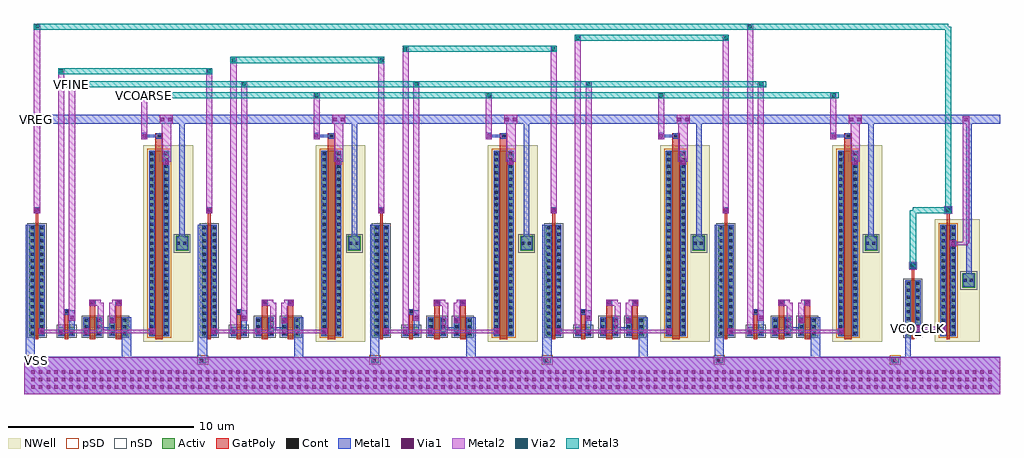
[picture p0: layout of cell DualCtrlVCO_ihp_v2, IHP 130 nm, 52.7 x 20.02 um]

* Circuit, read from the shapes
.subckt DualCtrlVCO_ihp_v2 VCOARSE VCO_CLK VFINE VREG VSS
XM1 n1 n2 VSS VSS sg13_lv_nmos w=6u l=0.15u
XM2 VFINE VFINE n1 VSS sg13_lv_nmos w=0.5u l=0.2u
XM3 n3 n1 n1 VSS sg13_lv_nmos w=1u l=0.3u
XM4 VSS n3 n3 VSS sg13_lv_nmos w=1u l=0.3u
XM5 n4 n1 VSS VSS sg13_lv_nmos w=6u l=0.15u
XM6 VFINE VFINE n4 VSS sg13_lv_nmos w=0.5u l=0.2u
XM7 n5 n4 n4 VSS sg13_lv_nmos w=1u l=0.3u
XM8 VSS n5 n5 VSS sg13_lv_nmos w=1u l=0.3u
XM9 n6 n4 VSS VSS sg13_lv_nmos w=6u l=0.15u
XM10 VFINE VFINE n6 VSS sg13_lv_nmos w=0.5u l=0.2u
XM11 n7 n6 n6 VSS sg13_lv_nmos w=1u l=0.3u
XM12 VSS n7 n7 VSS sg13_lv_nmos w=1u l=0.3u
XM13 n8 n6 VSS VSS sg13_lv_nmos w=6u l=0.15u
XM14 VFINE VFINE n8 VSS sg13_lv_nmos w=0.5u l=0.2u
XM15 n9 n8 n8 VSS sg13_lv_nmos w=1u l=0.3u
XM16 VSS n9 n9 VSS sg13_lv_nmos w=1u l=0.3u
XM17 n2 n8 VSS VSS sg13_lv_nmos w=6u l=0.15u
XM18 VFINE VFINE n2 VSS sg13_lv_nmos w=0.5u l=0.2u
XM19 n10 n2 n2 VSS sg13_lv_nmos w=1u l=0.3u
XM20 VSS n10 n10 VSS sg13_lv_nmos w=1u l=0.3u
XM21 VCO_CLK n2 VSS VSS sg13_lv_nmos w=3u l=0.15u
XM22 VREG VCOARSE n1 VREG sg13_lv_pmos w=10u l=0.4u
XM23 VREG VCOARSE n4 VREG sg13_lv_pmos w=10u l=0.4u
XM24 VREG VCOARSE n6 VREG sg13_lv_pmos w=10u l=0.4u
XM25 VREG VCOARSE n8 VREG sg13_lv_pmos w=10u l=0.4u
XM26 VREG VCOARSE n2 VREG sg13_lv_pmos w=10u l=0.4u
XM27 VREG n2 VCO_CLK VREG sg13_lv_pmos w=6u l=0.15u
.ends

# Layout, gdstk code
import gdstk
lib = gdstk.Library(unit=1e-6, precision=1e-09)
def R(c, l, rs):  # rectangles x0, y0, x1, y1
    for r in rs: c.add(gdstk.rectangle(r[:2], r[2:], *l))
def A(c, l, x, y, w, h, nx, ny, dx, dy):  # array of equal rectangles
    R(c, l, [(x+i*dx, y+j*dy, x+i*dx+w, y+j*dy+h) for i in range(nx) for j in range(ny)])
Activ = (1, 0)
GatPoly = (5, 0)
Cont = (6, 0)
nSD = (7, 0)
Metal1 = (8, 0)
Metal2 = (10, 0)
pSD = (14, 0)
Via1 = (19, 0)
Via2 = (29, 0)
Metal3 = (30, 0)
NWell = (31, 0)

dualctrlvco_ihp_v2 = lib.new_cell('DualCtrlVCO_ihp_v2')
A(dualctrlvco_ihp_v2, Activ, -0.55, -1.46, 0.4, 0.32, 5, 1, 9.3, 0)
A(dualctrlvco_ihp_v2, Activ, -0.415, 0, 0.83, 6, 5, 1, 9.3, 0)
A(dualctrlvco_ihp_v2, Activ, 1.16, 0, 0.88, 0.5, 5, 1, 9.3, 0)
A(dualctrlvco_ihp_v2, Activ, 6.06, 0, 1.08, 10, 5, 1, 9.3, 0)
A(dualctrlvco_ihp_v2, Activ, 7.49, 4.6, 0.7, 0.8, 5, 1, 9.3, 0)
R(dualctrlvco_ihp_v2, Activ, [(46.135,-1.46,46.535,-1.14), (2.51,0,3.49,1), (3.91,0,4.89,1), (11.81,0,12.79,1), (13.21,0,14.19,1), (21.11,0,22.09,1), (22.51,0,23.49,1), (30.41,0,31.39,1), (31.81,0,32.79,1), (39.71,0,40.69,1), (41.11,0,42.09,1), (46.885,0,47.715,3), (48.785,0,49.615,6), (49.965,2.6,50.665,3.4)])
A(dualctrlvco_ihp_v2, GatPoly, -0.075, -0.18, 0.15, 7.13, 5, 1, 9.3, 0)
A(dualctrlvco_ihp_v2, GatPoly, 1.5, -0.18, 0.2, 1.63, 5, 1, 9.3, 0)
A(dualctrlvco_ihp_v2, GatPoly, 6.4, -0.18, 0.4, 11.13, 5, 1, 9.3, 0)
A(dualctrlvco_ihp_v2, GatPoly, 1.45, 1.15, 0.3, 0.3, 5, 1, 9.3, 0)
A(dualctrlvco_ihp_v2, GatPoly, -0.15, 6.65, 0.3, 0.3, 5, 1, 9.3, 0)
A(dualctrlvco_ihp_v2, GatPoly, 6.4, 10.65, 0.4, 0.3, 5, 1, 9.3, 0)
R(dualctrlvco_ihp_v2, GatPoly, [(2.85,-0.18,3.15,1.95), (4.25,-0.18,4.55,1.95), (12.15,-0.18,12.45,1.95), (13.55,-0.18,13.85,1.95), (21.45,-0.18,21.75,1.95), (22.85,-0.18,23.15,1.95), (30.75,-0.18,31.05,1.95), (32.15,-0.18,32.45,1.95), (40.05,-0.18,40.35,1.95), (41.45,-0.18,41.75,1.95), (47.225,-0.18,47.375,3.95), (49.125,-0.18,49.275,6.95), (2.85,1.65,3.15,1.95), (4.25,1.65,4.55,1.95), (12.15,1.65,12.45,1.95), (13.55,1.65,13.85,1.95), (21.45,1.65,21.75,1.95), (22.85,1.65,23.15,1.95), (30.75,1.65,31.05,1.95), (32.15,1.65,32.45,1.95), (40.05,1.65,40.35,1.95), (41.45,1.65,41.75,1.95), (47.15,3.65,47.45,3.95), (49.05,6.65,49.35,6.95)])
A(dualctrlvco_ihp_v2, Cont, -0.48, -1.38, 0.16, 0.16, 5, 1, 9.3, 0)
A(dualctrlvco_ihp_v2, Cont, -0.345, 0.07, 0.16, 0.16, 1, 3, 0, 0.355)
A(dualctrlvco_ihp_v2, Cont, 0.185, 0.07, 0.16, 0.16, 1, 3, 0, 0.355)
A(dualctrlvco_ihp_v2, Cont, 2.58, 0.07, 0.16, 0.16, 1, 3, 0, 0.35)
A(dualctrlvco_ihp_v2, Cont, 3.26, 0.07, 0.16, 0.16, 1, 3, 0, 0.35)
A(dualctrlvco_ihp_v2, Cont, 3.98, 0.07, 0.16, 0.16, 1, 3, 0, 0.35)
A(dualctrlvco_ihp_v2, Cont, 4.66, 0.07, 0.16, 0.16, 1, 3, 0, 0.35)
A(dualctrlvco_ihp_v2, Cont, 8.955, 0.07, 0.16, 0.16, 1, 3, 0, 0.355)
A(dualctrlvco_ihp_v2, Cont, 9.485, 0.07, 0.16, 0.16, 1, 3, 0, 0.355)
A(dualctrlvco_ihp_v2, Cont, 11.88, 0.07, 0.16, 0.16, 1, 3, 0, 0.35)
A(dualctrlvco_ihp_v2, Cont, 12.56, 0.07, 0.16, 0.16, 1, 3, 0, 0.35)
A(dualctrlvco_ihp_v2, Cont, 13.28, 0.07, 0.16, 0.16, 1, 3, 0, 0.35)
A(dualctrlvco_ihp_v2, Cont, 13.96, 0.07, 0.16, 0.16, 1, 3, 0, 0.35)
A(dualctrlvco_ihp_v2, Cont, 18.255, 0.07, 0.16, 0.16, 1, 3, 0, 0.355)
A(dualctrlvco_ihp_v2, Cont, 18.785, 0.07, 0.16, 0.16, 1, 3, 0, 0.355)
A(dualctrlvco_ihp_v2, Cont, 21.18, 0.07, 0.16, 0.16, 1, 3, 0, 0.35)
A(dualctrlvco_ihp_v2, Cont, 21.86, 0.07, 0.16, 0.16, 1, 3, 0, 0.35)
A(dualctrlvco_ihp_v2, Cont, 22.58, 0.07, 0.16, 0.16, 1, 3, 0, 0.35)
A(dualctrlvco_ihp_v2, Cont, 23.26, 0.07, 0.16, 0.16, 1, 3, 0, 0.35)
A(dualctrlvco_ihp_v2, Cont, 27.555, 0.07, 0.16, 0.16, 1, 3, 0, 0.355)
A(dualctrlvco_ihp_v2, Cont, 28.085, 0.07, 0.16, 0.16, 1, 3, 0, 0.355)
A(dualctrlvco_ihp_v2, Cont, 30.48, 0.07, 0.16, 0.16, 1, 3, 0, 0.35)
A(dualctrlvco_ihp_v2, Cont, 31.16, 0.07, 0.16, 0.16, 1, 3, 0, 0.35)
A(dualctrlvco_ihp_v2, Cont, 31.88, 0.07, 0.16, 0.16, 1, 3, 0, 0.35)
A(dualctrlvco_ihp_v2, Cont, 32.56, 0.07, 0.16, 0.16, 1, 3, 0, 0.35)
A(dualctrlvco_ihp_v2, Cont, 36.855, 0.07, 0.16, 0.16, 1, 3, 0, 0.355)
A(dualctrlvco_ihp_v2, Cont, 37.385, 0.07, 0.16, 0.16, 1, 3, 0, 0.355)
A(dualctrlvco_ihp_v2, Cont, 39.78, 0.07, 0.16, 0.16, 1, 3, 0, 0.35)
A(dualctrlvco_ihp_v2, Cont, 40.46, 0.07, 0.16, 0.16, 1, 3, 0, 0.35)
A(dualctrlvco_ihp_v2, Cont, 41.18, 0.07, 0.16, 0.16, 1, 3, 0, 0.35)
A(dualctrlvco_ihp_v2, Cont, 41.86, 0.07, 0.16, 0.16, 1, 3, 0, 0.35)
A(dualctrlvco_ihp_v2, Cont, 46.955, 0.07, 0.16, 0.16, 1, 4, 0, 0.385)
A(dualctrlvco_ihp_v2, Cont, 47.485, 0.07, 0.16, 0.16, 1, 4, 0, 0.385)
A(dualctrlvco_ihp_v2, Cont, 48.855, 0.07, 0.16, 0.16, 1, 3, 0, 0.355)
A(dualctrlvco_ihp_v2, Cont, 49.385, 0.07, 0.16, 0.16, 1, 3, 0, 0.355)
A(dualctrlvco_ihp_v2, Cont, 6.13, 0.765, 0.16, 0.16, 1, 4, 0, 0.345)
A(dualctrlvco_ihp_v2, Cont, 6.91, 0.765, 0.16, 0.16, 1, 4, 0, 0.345)
A(dualctrlvco_ihp_v2, Cont, 15.43, 0.765, 0.16, 0.16, 1, 4, 0, 0.345)
A(dualctrlvco_ihp_v2, Cont, 16.21, 0.765, 0.16, 0.16, 1, 4, 0, 0.345)
A(dualctrlvco_ihp_v2, Cont, 24.73, 0.765, 0.16, 0.16, 1, 4, 0, 0.345)
A(dualctrlvco_ihp_v2, Cont, 25.51, 0.765, 0.16, 0.16, 1, 4, 0, 0.345)
A(dualctrlvco_ihp_v2, Cont, 34.03, 0.765, 0.16, 0.16, 1, 4, 0, 0.345)
A(dualctrlvco_ihp_v2, Cont, 34.81, 0.765, 0.16, 0.16, 1, 4, 0, 0.345)
A(dualctrlvco_ihp_v2, Cont, 43.33, 0.765, 0.16, 0.16, 1, 4, 0, 0.345)
A(dualctrlvco_ihp_v2, Cont, 44.11, 0.765, 0.16, 0.16, 1, 4, 0, 0.345)
A(dualctrlvco_ihp_v2, Cont, -0.345, 1.14, 0.16, 0.16, 1, 4, 0, 0.355)
A(dualctrlvco_ihp_v2, Cont, 0.185, 1.14, 0.16, 0.16, 1, 4, 0, 0.355)
A(dualctrlvco_ihp_v2, Cont, 8.955, 1.14, 0.16, 0.16, 1, 4, 0, 0.355)
A(dualctrlvco_ihp_v2, Cont, 9.485, 1.14, 0.16, 0.16, 1, 4, 0, 0.355)
A(dualctrlvco_ihp_v2, Cont, 18.255, 1.14, 0.16, 0.16, 1, 4, 0, 0.355)
A(dualctrlvco_ihp_v2, Cont, 18.785, 1.14, 0.16, 0.16, 1, 4, 0, 0.355)
A(dualctrlvco_ihp_v2, Cont, 27.555, 1.14, 0.16, 0.16, 1, 4, 0, 0.355)
A(dualctrlvco_ihp_v2, Cont, 28.085, 1.14, 0.16, 0.16, 1, 4, 0, 0.355)
A(dualctrlvco_ihp_v2, Cont, 36.855, 1.14, 0.16, 0.16, 1, 4, 0, 0.355)
A(dualctrlvco_ihp_v2, Cont, 37.385, 1.14, 0.16, 0.16, 1, 4, 0, 0.355)
A(dualctrlvco_ihp_v2, Cont, 48.855, 1.14, 0.16, 0.16, 1, 4, 0, 0.355)
A(dualctrlvco_ihp_v2, Cont, 49.385, 1.14, 0.16, 0.16, 1, 4, 0, 0.355)
A(dualctrlvco_ihp_v2, Cont, 1.52, 1.22, 0.16, 0.16, 5, 1, 9.3, 0)
A(dualctrlvco_ihp_v2, Cont, 46.955, 1.615, 0.16, 0.16, 1, 4, 0, 0.385)
A(dualctrlvco_ihp_v2, Cont, 47.485, 1.615, 0.16, 0.16, 1, 4, 0, 0.385)
A(dualctrlvco_ihp_v2, Cont, 6.13, 2.15, 0.16, 0.16, 1, 3, 0, 0.345)
A(dualctrlvco_ihp_v2, Cont, 6.91, 2.15, 0.16, 0.16, 1, 3, 0, 0.345)
A(dualctrlvco_ihp_v2, Cont, 15.43, 2.15, 0.16, 0.16, 1, 3, 0, 0.345)
A(dualctrlvco_ihp_v2, Cont, 16.21, 2.15, 0.16, 0.16, 1, 3, 0, 0.345)
A(dualctrlvco_ihp_v2, Cont, 24.73, 2.15, 0.16, 0.16, 1, 3, 0, 0.345)
A(dualctrlvco_ihp_v2, Cont, 25.51, 2.15, 0.16, 0.16, 1, 3, 0, 0.345)
A(dualctrlvco_ihp_v2, Cont, 34.03, 2.15, 0.16, 0.16, 1, 3, 0, 0.345)
A(dualctrlvco_ihp_v2, Cont, 34.81, 2.15, 0.16, 0.16, 1, 3, 0, 0.345)
A(dualctrlvco_ihp_v2, Cont, 43.33, 2.15, 0.16, 0.16, 1, 3, 0, 0.345)
A(dualctrlvco_ihp_v2, Cont, 44.11, 2.15, 0.16, 0.16, 1, 3, 0, 0.345)
A(dualctrlvco_ihp_v2, Cont, -0.345, 2.565, 0.16, 0.16, 1, 4, 0, 0.355)
A(dualctrlvco_ihp_v2, Cont, 0.185, 2.565, 0.16, 0.16, 1, 4, 0, 0.355)
A(dualctrlvco_ihp_v2, Cont, 8.955, 2.565, 0.16, 0.16, 1, 4, 0, 0.355)
A(dualctrlvco_ihp_v2, Cont, 9.485, 2.565, 0.16, 0.16, 1, 4, 0, 0.355)
A(dualctrlvco_ihp_v2, Cont, 18.255, 2.565, 0.16, 0.16, 1, 4, 0, 0.355)
A(dualctrlvco_ihp_v2, Cont, 18.785, 2.565, 0.16, 0.16, 1, 4, 0, 0.355)
A(dualctrlvco_ihp_v2, Cont, 27.555, 2.565, 0.16, 0.16, 1, 4, 0, 0.355)
A(dualctrlvco_ihp_v2, Cont, 28.085, 2.565, 0.16, 0.16, 1, 4, 0, 0.355)
A(dualctrlvco_ihp_v2, Cont, 36.855, 2.565, 0.16, 0.16, 1, 4, 0, 0.355)
A(dualctrlvco_ihp_v2, Cont, 37.385, 2.565, 0.16, 0.16, 1, 4, 0, 0.355)
A(dualctrlvco_ihp_v2, Cont, 48.855, 2.565, 0.16, 0.16, 1, 4, 0, 0.355)
A(dualctrlvco_ihp_v2, Cont, 49.385, 2.565, 0.16, 0.16, 1, 4, 0, 0.355)
A(dualctrlvco_ihp_v2, Cont, 6.13, 3.19, 0.16, 0.16, 1, 4, 0, 0.345)
A(dualctrlvco_ihp_v2, Cont, 6.91, 3.19, 0.16, 0.16, 1, 4, 0, 0.345)
A(dualctrlvco_ihp_v2, Cont, 15.43, 3.19, 0.16, 0.16, 1, 4, 0, 0.345)
A(dualctrlvco_ihp_v2, Cont, 16.21, 3.19, 0.16, 0.16, 1, 4, 0, 0.345)
A(dualctrlvco_ihp_v2, Cont, 24.73, 3.19, 0.16, 0.16, 1, 4, 0, 0.345)
A(dualctrlvco_ihp_v2, Cont, 25.51, 3.19, 0.16, 0.16, 1, 4, 0, 0.345)
A(dualctrlvco_ihp_v2, Cont, 34.03, 3.19, 0.16, 0.16, 1, 4, 0, 0.345)
A(dualctrlvco_ihp_v2, Cont, 34.81, 3.19, 0.16, 0.16, 1, 4, 0, 0.345)
A(dualctrlvco_ihp_v2, Cont, 43.33, 3.19, 0.16, 0.16, 1, 4, 0, 0.345)
A(dualctrlvco_ihp_v2, Cont, 44.11, 3.19, 0.16, 0.16, 1, 4, 0, 0.345)
A(dualctrlvco_ihp_v2, Cont, -0.345, 3.99, 0.16, 0.16, 1, 4, 0, 0.355)
A(dualctrlvco_ihp_v2, Cont, 0.185, 3.99, 0.16, 0.16, 1, 4, 0, 0.355)
A(dualctrlvco_ihp_v2, Cont, 8.955, 3.99, 0.16, 0.16, 1, 4, 0, 0.355)
A(dualctrlvco_ihp_v2, Cont, 9.485, 3.99, 0.16, 0.16, 1, 4, 0, 0.355)
A(dualctrlvco_ihp_v2, Cont, 18.255, 3.99, 0.16, 0.16, 1, 4, 0, 0.355)
A(dualctrlvco_ihp_v2, Cont, 18.785, 3.99, 0.16, 0.16, 1, 4, 0, 0.355)
A(dualctrlvco_ihp_v2, Cont, 27.555, 3.99, 0.16, 0.16, 1, 4, 0, 0.355)
A(dualctrlvco_ihp_v2, Cont, 28.085, 3.99, 0.16, 0.16, 1, 4, 0, 0.355)
A(dualctrlvco_ihp_v2, Cont, 36.855, 3.99, 0.16, 0.16, 1, 4, 0, 0.355)
A(dualctrlvco_ihp_v2, Cont, 37.385, 3.99, 0.16, 0.16, 1, 4, 0, 0.355)
A(dualctrlvco_ihp_v2, Cont, 48.855, 3.99, 0.16, 0.16, 1, 4, 0, 0.355)
A(dualctrlvco_ihp_v2, Cont, 49.385, 3.99, 0.16, 0.16, 1, 4, 0, 0.355)
A(dualctrlvco_ihp_v2, Cont, 6.13, 4.575, 0.16, 0.16, 1, 3, 0, 0.345)
A(dualctrlvco_ihp_v2, Cont, 6.91, 4.575, 0.16, 0.16, 1, 3, 0, 0.345)
A(dualctrlvco_ihp_v2, Cont, 15.43, 4.575, 0.16, 0.16, 1, 3, 0, 0.345)
A(dualctrlvco_ihp_v2, Cont, 16.21, 4.575, 0.16, 0.16, 1, 3, 0, 0.345)
A(dualctrlvco_ihp_v2, Cont, 24.73, 4.575, 0.16, 0.16, 1, 3, 0, 0.345)
A(dualctrlvco_ihp_v2, Cont, 25.51, 4.575, 0.16, 0.16, 1, 3, 0, 0.345)
A(dualctrlvco_ihp_v2, Cont, 34.03, 4.575, 0.16, 0.16, 1, 3, 0, 0.345)
A(dualctrlvco_ihp_v2, Cont, 34.81, 4.575, 0.16, 0.16, 1, 3, 0, 0.345)
A(dualctrlvco_ihp_v2, Cont, 43.33, 4.575, 0.16, 0.16, 1, 3, 0, 0.345)
A(dualctrlvco_ihp_v2, Cont, 44.11, 4.575, 0.16, 0.16, 1, 3, 0, 0.345)
A(dualctrlvco_ihp_v2, Cont, 6.13, 5.615, 0.16, 0.16, 1, 4, 0, 0.345)
A(dualctrlvco_ihp_v2, Cont, 6.91, 5.615, 0.16, 0.16, 1, 4, 0, 0.345)
A(dualctrlvco_ihp_v2, Cont, 15.43, 5.615, 0.16, 0.16, 1, 4, 0, 0.345)
A(dualctrlvco_ihp_v2, Cont, 16.21, 5.615, 0.16, 0.16, 1, 4, 0, 0.345)
A(dualctrlvco_ihp_v2, Cont, 24.73, 5.615, 0.16, 0.16, 1, 4, 0, 0.345)
A(dualctrlvco_ihp_v2, Cont, 25.51, 5.615, 0.16, 0.16, 1, 4, 0, 0.345)
A(dualctrlvco_ihp_v2, Cont, 34.03, 5.615, 0.16, 0.16, 1, 4, 0, 0.345)
A(dualctrlvco_ihp_v2, Cont, 34.81, 5.615, 0.16, 0.16, 1, 4, 0, 0.345)
A(dualctrlvco_ihp_v2, Cont, 43.33, 5.615, 0.16, 0.16, 1, 4, 0, 0.345)
A(dualctrlvco_ihp_v2, Cont, 44.11, 5.615, 0.16, 0.16, 1, 4, 0, 0.345)
A(dualctrlvco_ihp_v2, Cont, -0.08, 6.72, 0.16, 0.16, 5, 1, 9.3, 0)
A(dualctrlvco_ihp_v2, Cont, 6.13, 7, 0.16, 0.16, 1, 3, 0, 0.345)
A(dualctrlvco_ihp_v2, Cont, 6.91, 7, 0.16, 0.16, 1, 3, 0, 0.345)
A(dualctrlvco_ihp_v2, Cont, 15.43, 7, 0.16, 0.16, 1, 3, 0, 0.345)
A(dualctrlvco_ihp_v2, Cont, 16.21, 7, 0.16, 0.16, 1, 3, 0, 0.345)
A(dualctrlvco_ihp_v2, Cont, 24.73, 7, 0.16, 0.16, 1, 3, 0, 0.345)
A(dualctrlvco_ihp_v2, Cont, 25.51, 7, 0.16, 0.16, 1, 3, 0, 0.345)
A(dualctrlvco_ihp_v2, Cont, 34.03, 7, 0.16, 0.16, 1, 3, 0, 0.345)
A(dualctrlvco_ihp_v2, Cont, 34.81, 7, 0.16, 0.16, 1, 3, 0, 0.345)
A(dualctrlvco_ihp_v2, Cont, 43.33, 7, 0.16, 0.16, 1, 3, 0, 0.345)
A(dualctrlvco_ihp_v2, Cont, 44.11, 7, 0.16, 0.16, 1, 3, 0, 0.345)
A(dualctrlvco_ihp_v2, Cont, 6.13, 8.04, 0.16, 0.16, 1, 4, 0, 0.345)
A(dualctrlvco_ihp_v2, Cont, 6.91, 8.04, 0.16, 0.16, 1, 4, 0, 0.345)
A(dualctrlvco_ihp_v2, Cont, 15.43, 8.04, 0.16, 0.16, 1, 4, 0, 0.345)
A(dualctrlvco_ihp_v2, Cont, 16.21, 8.04, 0.16, 0.16, 1, 4, 0, 0.345)
A(dualctrlvco_ihp_v2, Cont, 24.73, 8.04, 0.16, 0.16, 1, 4, 0, 0.345)
A(dualctrlvco_ihp_v2, Cont, 25.51, 8.04, 0.16, 0.16, 1, 4, 0, 0.345)
A(dualctrlvco_ihp_v2, Cont, 34.03, 8.04, 0.16, 0.16, 1, 4, 0, 0.345)
A(dualctrlvco_ihp_v2, Cont, 34.81, 8.04, 0.16, 0.16, 1, 4, 0, 0.345)
A(dualctrlvco_ihp_v2, Cont, 43.33, 8.04, 0.16, 0.16, 1, 4, 0, 0.345)
A(dualctrlvco_ihp_v2, Cont, 44.11, 8.04, 0.16, 0.16, 1, 4, 0, 0.345)
A(dualctrlvco_ihp_v2, Cont, 6.52, 10.72, 0.16, 0.16, 5, 1, 9.3, 0)
R(dualctrlvco_ihp_v2, Cont, [(46.205,-1.38,46.365,-1.22), (1.23,0.07,1.39,0.23), (1.81,0.07,1.97,0.23), (6.13,0.07,6.29,0.23), (6.91,0.07,7.07,0.23), (10.53,0.07,10.69,0.23), (11.11,0.07,11.27,0.23), (15.43,0.07,15.59,0.23), (16.21,0.07,16.37,0.23), (19.83,0.07,19.99,0.23), (20.41,0.07,20.57,0.23), (24.73,0.07,24.89,0.23), (25.51,0.07,25.67,0.23), (29.13,0.07,29.29,0.23), (29.71,0.07,29.87,0.23), (34.03,0.07,34.19,0.23), (34.81,0.07,34.97,0.23), (38.43,0.07,38.59,0.23), (39.01,0.07,39.17,0.23), (43.33,0.07,43.49,0.23), (44.11,0.07,44.27,0.23), (6.13,0.415,6.29,0.575), (6.91,0.415,7.07,0.575), (15.43,0.415,15.59,0.575), (16.21,0.415,16.37,0.575), (24.73,0.415,24.89,0.575), (25.51,0.415,25.67,0.575), (34.03,0.415,34.19,0.575), (34.81,0.415,34.97,0.575), (43.33,0.415,43.49,0.575), (44.11,0.415,44.27,0.575), (2.92,1.72,3.08,1.88), (4.32,1.72,4.48,1.88), (12.22,1.72,12.38,1.88), (13.62,1.72,13.78,1.88), (21.52,1.72,21.68,1.88), (22.92,1.72,23.08,1.88), (30.82,1.72,30.98,1.88), (32.22,1.72,32.38,1.88), (40.12,1.72,40.28,1.88), (41.52,1.72,41.68,1.88), (50.035,2.92,50.195,3.08), (50.375,2.92,50.535,3.08), (47.22,3.72,47.38,3.88), (7.56,4.92,7.72,5.08), (7.9,4.92,8.06,5.08), (16.86,4.92,17.02,5.08), (17.2,4.92,17.36,5.08), (26.16,4.92,26.32,5.08), (26.5,4.92,26.66,5.08), (35.46,4.92,35.62,5.08), (35.8,4.92,35.96,5.08), (44.76,4.92,44.92,5.08), (45.1,4.92,45.26,5.08), (-0.345,5.415,-0.185,5.575), (0.185,5.415,0.345,5.575), (8.955,5.415,9.115,5.575), (9.485,5.415,9.645,5.575), (18.255,5.415,18.415,5.575), (18.785,5.415,18.945,5.575), (27.555,5.415,27.715,5.575), (28.085,5.415,28.245,5.575), (36.855,5.415,37.015,5.575), (37.385,5.415,37.545,5.575), (48.855,5.415,49.015,5.575), (49.385,5.415,49.545,5.575), (-0.345,5.77,-0.185,5.93), (0.185,5.77,0.345,5.93), (8.955,5.77,9.115,5.93), (9.485,5.77,9.645,5.93), (18.255,5.77,18.415,5.93), (18.785,5.77,18.945,5.93), (27.555,5.77,27.715,5.93), (28.085,5.77,28.245,5.93), (36.855,5.77,37.015,5.93), (37.385,5.77,37.545,5.93), (48.855,5.77,49.015,5.93), (49.385,5.77,49.545,5.93), (49.12,6.72,49.28,6.88), (6.13,9.425,6.29,9.585), (6.91,9.425,7.07,9.585), (15.43,9.425,15.59,9.585), (16.21,9.425,16.37,9.585), (24.73,9.425,24.89,9.585), (25.51,9.425,25.67,9.585), (34.03,9.425,34.19,9.585), (34.81,9.425,34.97,9.585), (43.33,9.425,43.49,9.585), (44.11,9.425,44.27,9.585), (6.13,9.77,6.29,9.93), (6.91,9.77,7.07,9.93), (15.43,9.77,15.59,9.93), (16.21,9.77,16.37,9.93), (24.73,9.77,24.89,9.93), (25.51,9.77,25.67,9.93), (34.03,9.77,34.19,9.93), (34.81,9.77,34.97,9.93), (43.33,9.77,43.49,9.93), (44.11,9.77,44.27,9.93)])
A(dualctrlvco_ihp_v2, nSD, -0.515, -0.1, 1.03, 6.2, 5, 1, 9.3, 0)
A(dualctrlvco_ihp_v2, nSD, 1.06, -0.1, 1.08, 0.7, 5, 1, 9.3, 0)
A(dualctrlvco_ihp_v2, nSD, 7.39, 4.5, 0.9, 1, 5, 1, 9.3, 0)
R(dualctrlvco_ihp_v2, nSD, [(2.41,-0.1,3.59,1.1), (3.81,-0.1,4.99,1.1), (11.71,-0.1,12.89,1.1), (13.11,-0.1,14.29,1.1), (21.01,-0.1,22.19,1.1), (22.41,-0.1,23.59,1.1), (30.31,-0.1,31.49,1.1), (31.71,-0.1,32.89,1.1), (39.61,-0.1,40.79,1.1), (41.01,-0.1,42.19,1.1), (46.785,-0.1,47.815,3.1), (49.865,2.5,50.765,3.5)])
A(dualctrlvco_ihp_v2, Metal1, -0.7, -1.47, 8.4, 0.34, 5, 2, 9.3, 13)
A(dualctrlvco_ihp_v2, Metal1, -0.615, -1.3, 0.5, 7.3, 5, 1, 9.3, 0)
A(dualctrlvco_ihp_v2, Metal1, 4.59, -1.3, 0.5, 2.3, 5, 1, 9.3, 0)
A(dualctrlvco_ihp_v2, Metal1, 1.74, 0, 0.3, 1.3, 5, 1, 9.3, 0)
A(dualctrlvco_ihp_v2, Metal1, 3.19, 0.3, 1.02, 0.16, 5, 1, 9.3, 0)
A(dualctrlvco_ihp_v2, Metal1, 3.895, 0.685, 0.33, 0.33, 5, 1, 9.3, 0)
A(dualctrlvco_ihp_v2, Metal1, 1.725, 0.835, 0.33, 0.33, 5, 1, 9.3, 0)
A(dualctrlvco_ihp_v2, Metal1, 1.45, 1.15, 0.3, 0.3, 5, 1, 9.3, 0)
A(dualctrlvco_ihp_v2, Metal1, 1.58, 1.22, 0.46, 0.16, 5, 1, 9.3, 0)
A(dualctrlvco_ihp_v2, Metal1, 7.54, 4.65, 0.6, 0.7, 5, 1, 9.3, 0)
A(dualctrlvco_ihp_v2, Metal1, 7.69, 5, 0.3, 6.7, 5, 1, 9.3, 0)
A(dualctrlvco_ihp_v2, Metal1, -0.165, 6.635, 0.33, 0.33, 5, 1, 9.3, 0)
A(dualctrlvco_ihp_v2, Metal1, -0.15, 6.65, 0.3, 0.3, 5, 1, 9.3, 0)
A(dualctrlvco_ihp_v2, Metal1, 6.825, 9.235, 0.33, 0.33, 5, 1, 9.3, 0)
A(dualctrlvco_ihp_v2, Metal1, 5.635, 10.635, 0.33, 0.33, 5, 1, 9.3, 0)
A(dualctrlvco_ihp_v2, Metal1, 6.45, 10.65, 0.3, 0.3, 5, 1, 9.3, 0)
A(dualctrlvco_ihp_v2, Metal1, 5.65, 10.72, 1.1, 0.16, 5, 1, 9.3, 0)
R(dualctrlvco_ihp_v2, Metal1, [(-0.7,-3.15,52,-1.15), (-0.7,-1.47,52,-1.13), (46.885,-1.3,47.185,3), (-0.415,0,-0.115,6), (0.115,0,0.415,6), (1.16,0,1.46,0.5), (1.74,0,2.04,0.5), (2.51,0,2.81,1), (3.19,0,3.49,1), (3.91,0,4.21,1), (4.59,0,4.89,1), (6.06,0,6.36,10), (6.84,0,7.14,10), (8.885,0,9.185,6), (9.415,0,9.715,6), (10.46,0,10.76,0.5), (11.04,0,11.34,0.5), (11.81,0,12.11,1), (12.49,0,12.79,1), (13.21,0,13.51,1), (13.89,0,14.19,1), (15.36,0,15.66,10), (16.14,0,16.44,10), (18.185,0,18.485,6), (18.715,0,19.015,6), (19.76,0,20.06,0.5), (20.34,0,20.64,0.5), (21.11,0,21.41,1), (21.79,0,22.09,1), (22.51,0,22.81,1), (23.19,0,23.49,1), (24.66,0,24.96,10), (25.44,0,25.74,10), (27.485,0,27.785,6), (28.015,0,28.315,6), (29.06,0,29.36,0.5), (29.64,0,29.94,0.5), (30.41,0,30.71,1), (31.09,0,31.39,1), (31.81,0,32.11,1), (32.49,0,32.79,1), (33.96,0,34.26,10), (34.74,0,35.04,10), (36.785,0,37.085,6), (37.315,0,37.615,6), (38.36,0,38.66,0.5), (38.94,0,39.24,0.5), (39.71,0,40.01,1), (40.39,0,40.69,1), (41.11,0,41.41,1), (41.79,0,42.09,1), (43.26,0,43.56,10), (44.04,0,44.34,10), (46.885,0,47.185,3), (47.415,0,47.715,3), (48.785,0,49.085,6), (49.315,0,49.615,6), (0.1,0.085,0.43,0.415), (1.145,0.085,1.475,0.415), (2.495,0.085,2.825,0.415), (6.045,0.085,6.375,0.415), (9.4,0.085,9.73,0.415), (10.445,0.085,10.775,0.415), (11.795,0.085,12.125,0.415), (15.345,0.085,15.675,0.415), (18.7,0.085,19.03,0.415), (19.745,0.085,20.075,0.415), (21.095,0.085,21.425,0.415), (24.645,0.085,24.975,0.415), (28,0.085,28.33,0.415), (29.045,0.085,29.375,0.415), (30.395,0.085,30.725,0.415), (33.945,0.085,34.275,0.415), (37.3,0.085,37.63,0.415), (38.345,0.085,38.675,0.415), (39.695,0.085,40.025,0.415), (43.245,0.085,43.575,0.415), (47.4,0.235,47.73,0.565), (48.77,0.235,49.1,0.565), (2.835,1.635,3.165,1.965), (4.235,1.635,4.565,1.965), (12.135,1.635,12.465,1.965), (13.535,1.635,13.865,1.965), (21.435,1.635,21.765,1.965), (22.835,1.635,23.165,1.965), (30.735,1.635,31.065,1.965), (32.135,1.635,32.465,1.965), (40.035,1.635,40.365,1.965), (41.435,1.635,41.765,1.965), (2.85,1.65,3.15,1.95), (4.25,1.65,4.55,1.95), (12.15,1.65,12.45,1.95), (13.55,1.65,13.85,1.95), (21.45,1.65,21.75,1.95), (22.85,1.65,23.15,1.95), (30.75,1.65,31.05,1.95), (32.15,1.65,32.45,1.95), (40.05,1.65,40.35,1.95), (41.45,1.65,41.75,1.95), (50.015,2.65,50.615,3.35), (50.165,3,50.465,11.7), (47.135,3.635,47.465,3.965), (47.15,3.65,47.45,3.95), (49.3,4.835,49.63,5.165), (49.035,6.635,49.365,6.965), (49.05,6.65,49.35,6.95), (-0.7,11.45,52,11.95), (50,11.535,50.33,11.865)])
A(dualctrlvco_ihp_v2, Metal2, 0.165, 0.15, 6.145, 0.2, 5, 1, 9.3, 0)
A(dualctrlvco_ihp_v2, Metal2, 3.285, 0.25, 0.33, 1.55, 5, 1, 9.3, 0)
A(dualctrlvco_ihp_v2, Metal2, 3.895, 0.685, 0.33, 0.33, 5, 1, 9.3, 0)
A(dualctrlvco_ihp_v2, Metal2, 1.725, 0.835, 0.33, 0.33, 5, 2, 9.3, 12.6)
A(dualctrlvco_ihp_v2, Metal2, 3.895, 0.85, 0.33, 0.95, 5, 1, 9.3, 0)
A(dualctrlvco_ihp_v2, Metal2, 1.725, 1, 0.33, 12.6, 5, 1, 9.3, 0)
A(dualctrlvco_ihp_v2, Metal2, 3, 1.635, 0.45, 0.33, 5, 1, 9.3, 0)
A(dualctrlvco_ihp_v2, Metal2, 4.06, 1.635, 0.34, 0.33, 5, 1, 9.3, 0)
A(dualctrlvco_ihp_v2, Metal2, -0.165, 6.635, 0.33, 0.33, 5, 1, 9.3, 0)
A(dualctrlvco_ihp_v2, Metal2, 6.825, 9.235, 0.33, 0.33, 5, 1, 9.3, 0)
A(dualctrlvco_ihp_v2, Metal2, 6.74, 9.4, 0.5, 2.3, 5, 1, 9.3, 0)
A(dualctrlvco_ihp_v2, Metal2, 5.635, 10.635, 0.33, 0.33, 5, 2, 9.3, 2.2)
A(dualctrlvco_ihp_v2, Metal2, 5.635, 10.8, 0.33, 2.2, 5, 1, 9.3, 0)
A(dualctrlvco_ihp_v2, Metal2, 6.64, 11.45, 0.7, 0.5, 5, 1, 9.3, 0)
R(dualctrlvco_ihp_v2, Metal2, [(-0.7,-3.15,52,-1.15), (0.1,0.085,0.43,0.415), (1.145,0.085,1.475,0.415), (2.495,0.085,2.825,0.415), (6.045,0.085,6.375,0.415), (9.4,0.085,9.73,0.415), (10.445,0.085,10.775,0.415), (11.795,0.085,12.125,0.415), (15.345,0.085,15.675,0.415), (18.7,0.085,19.03,0.415), (19.745,0.085,20.075,0.415), (21.095,0.085,21.425,0.415), (24.645,0.085,24.975,0.415), (28,0.085,28.33,0.415), (29.045,0.085,29.375,0.415), (30.395,0.085,30.725,0.415), (33.945,0.085,34.275,0.415), (37.3,0.085,37.63,0.415), (38.345,0.085,38.675,0.415), (39.695,0.085,40.025,0.415), (43.245,0.085,43.575,0.415), (47.4,0.235,47.73,0.565), (48.77,0.235,49.1,0.565), (1.145,0.25,1.475,14.3), (10.445,0.25,10.775,14.9), (19.745,0.25,20.075,15.5), (29.045,0.25,29.375,16.1), (38.345,0.25,38.675,16.7), (47.465,0.3,49.035,0.5), (2.835,1.635,3.165,1.965), (4.235,1.635,4.565,1.965), (12.135,1.635,12.465,1.965), (13.535,1.635,13.865,1.965), (21.435,1.635,21.765,1.965), (22.835,1.635,23.165,1.965), (30.735,1.635,31.065,1.965), (32.135,1.635,32.465,1.965), (40.035,1.635,40.365,1.965), (41.435,1.635,41.765,1.965), (47.09,3.59,47.51,4.01), (47.135,3.635,47.465,3.965), (47.135,3.635,47.465,3.965), (49.3,4.835,49.63,5.165), (49.365,4.9,50.265,5.1), (50,5,50.33,11.7), (48.99,6.59,49.41,7.01), (49.035,6.635,49.365,6.965), (49.035,6.635,49.365,6.965), (-0.165,6.8,0.165,16.7), (9.135,6.8,9.465,14.3), (18.435,6.8,18.765,14.9), (27.735,6.8,28.065,15.5), (37.035,6.8,37.365,16.1), (50,11.535,50.33,11.865), (1.145,14.135,1.475,14.465), (9.135,14.135,9.465,14.465), (10.445,14.735,10.775,15.065), (18.435,14.735,18.765,15.065), (19.745,15.335,20.075,15.665), (27.735,15.335,28.065,15.665), (29.045,15.935,29.375,16.265), (37.035,15.935,37.365,16.265), (-0.165,16.535,0.165,16.865), (38.345,16.535,38.675,16.865)])
A(dualctrlvco_ihp_v2, pSD, -0.65, -1.56, 0.6, 0.52, 5, 1, 9.3, 0)
A(dualctrlvco_ihp_v2, pSD, 5.96, -0.1, 1.28, 10.2, 5, 1, 9.3, 0)
R(dualctrlvco_ihp_v2, pSD, [(46.035,-1.56,46.635,-1.04), (48.685,-0.1,49.715,6.1)])
A(dualctrlvco_ihp_v2, Via1, -0.305, -2.855, 0.19, 0.19, 127, 3, 0.41, 0.41)
A(dualctrlvco_ihp_v2, Via1, 3.965, 0.755, 0.19, 0.19, 5, 1, 9.3, 0)
A(dualctrlvco_ihp_v2, Via1, 1.795, 0.905, 0.19, 0.19, 5, 1, 9.3, 0)
A(dualctrlvco_ihp_v2, Via1, -0.095, 6.705, 0.19, 0.19, 5, 1, 9.3, 0)
A(dualctrlvco_ihp_v2, Via1, 6.895, 9.305, 0.19, 0.19, 5, 1, 9.3, 0)
A(dualctrlvco_ihp_v2, Via1, 5.705, 10.705, 0.19, 0.19, 5, 1, 9.3, 0)
R(dualctrlvco_ihp_v2, Via1, [(0.17,0.155,0.36,0.345), (1.215,0.155,1.405,0.345), (2.565,0.155,2.755,0.345), (6.115,0.155,6.305,0.345), (9.47,0.155,9.66,0.345), (10.515,0.155,10.705,0.345), (11.865,0.155,12.055,0.345), (15.415,0.155,15.605,0.345), (18.77,0.155,18.96,0.345), (19.815,0.155,20.005,0.345), (21.165,0.155,21.355,0.345), (24.715,0.155,24.905,0.345), (28.07,0.155,28.26,0.345), (29.115,0.155,29.305,0.345), (30.465,0.155,30.655,0.345), (34.015,0.155,34.205,0.345), (37.37,0.155,37.56,0.345), (38.415,0.155,38.605,0.345), (39.765,0.155,39.955,0.345), (43.315,0.155,43.505,0.345), (47.47,0.305,47.66,0.495), (48.84,0.305,49.03,0.495), (2.905,1.705,3.095,1.895), (4.305,1.705,4.495,1.895), (12.205,1.705,12.395,1.895), (13.605,1.705,13.795,1.895), (21.505,1.705,21.695,1.895), (22.905,1.705,23.095,1.895), (30.805,1.705,30.995,1.895), (32.205,1.705,32.395,1.895), (40.105,1.705,40.295,1.895), (41.505,1.705,41.695,1.895), (47.205,3.705,47.395,3.895), (49.37,4.905,49.56,5.095), (49.105,6.705,49.295,6.895), (6.69,11.605,6.88,11.795), (7.1,11.605,7.29,11.795), (15.99,11.605,16.18,11.795), (16.4,11.605,16.59,11.795), (25.29,11.605,25.48,11.795), (25.7,11.605,25.89,11.795), (34.59,11.605,34.78,11.795), (35,11.605,35.19,11.795), (43.89,11.605,44.08,11.795), (44.3,11.605,44.49,11.795), (50.07,11.605,50.26,11.795)])
A(dualctrlvco_ihp_v2, Via2, 5.705, 12.905, 0.19, 0.19, 5, 1, 9.3, 0)
A(dualctrlvco_ihp_v2, Via2, 1.795, 13.505, 0.19, 0.19, 5, 1, 9.3, 0)
R(dualctrlvco_ihp_v2, Via2, [(47.205,3.705,47.395,3.895), (49.105,6.705,49.295,6.895), (1.215,14.205,1.405,14.395), (9.205,14.205,9.395,14.395), (10.515,14.805,10.705,14.995), (18.505,14.805,18.695,14.995), (19.815,15.405,20.005,15.595), (27.805,15.405,27.995,15.595), (29.115,16.005,29.305,16.195), (37.105,16.005,37.295,16.195), (-0.095,16.605,0.095,16.795), (38.415,16.605,38.605,16.795)])
A(dualctrlvco_ihp_v2, Metal3, 5.635, 12.835, 0.33, 0.33, 5, 1, 9.3, 0)
A(dualctrlvco_ihp_v2, Metal3, 1.725, 13.435, 0.33, 0.33, 5, 1, 9.3, 0)
R(dualctrlvco_ihp_v2, Metal3, [(47.135,3.635,47.465,3.965), (47.135,3.8,47.465,6.8), (47.3,6.635,49.2,6.965), (49.035,6.635,49.365,6.965), (49.035,6.8,49.365,16.7), (5.5,12.835,43.3,13.165), (1.59,13.435,39.39,13.765), (1.145,14.135,1.475,14.465), (1.31,14.135,9.3,14.465), (9.135,14.135,9.465,14.465), (10.445,14.735,10.775,15.065), (10.61,14.735,18.6,15.065), (18.435,14.735,18.765,15.065), (19.745,15.335,20.075,15.665), (19.91,15.335,27.9,15.665), (27.735,15.335,28.065,15.665), (29.045,15.935,29.375,16.265), (29.21,15.935,37.2,16.265), (37.035,15.935,37.365,16.265), (-0.165,16.535,0.165,16.865), (0,16.535,38.51,16.865), (38.345,16.535,38.675,16.865), (38.51,16.535,49.2,16.865)])
A(dualctrlvco_ihp_v2, NWell, 5.75, -0.31, 2.68, 10.62, 5, 1, 9.3, 0)
R(dualctrlvco_ihp_v2, NWell, [(48.475,-0.31,50.905,6.31)])
dualctrlvco_ihp_v2.add(gdstk.Label('VCOARSE', (5.8,13), layer=30, texttype=0))
dualctrlvco_ihp_v2.add(gdstk.Label('VFINE', (1.89,13.6), layer=30, texttype=0))
dualctrlvco_ihp_v2.add(gdstk.Label('VCO_CLK', (47.565,0.4), layer=10, texttype=0))
dualctrlvco_ihp_v2.add(gdstk.Label('VREG', (0,11.7), layer=8, texttype=0))
dualctrlvco_ihp_v2.add(gdstk.Label('VSS', (0,-1.3), layer=8, texttype=0))

lib.write_gds('DualCtrlVCO_ihp_v2.gds')
